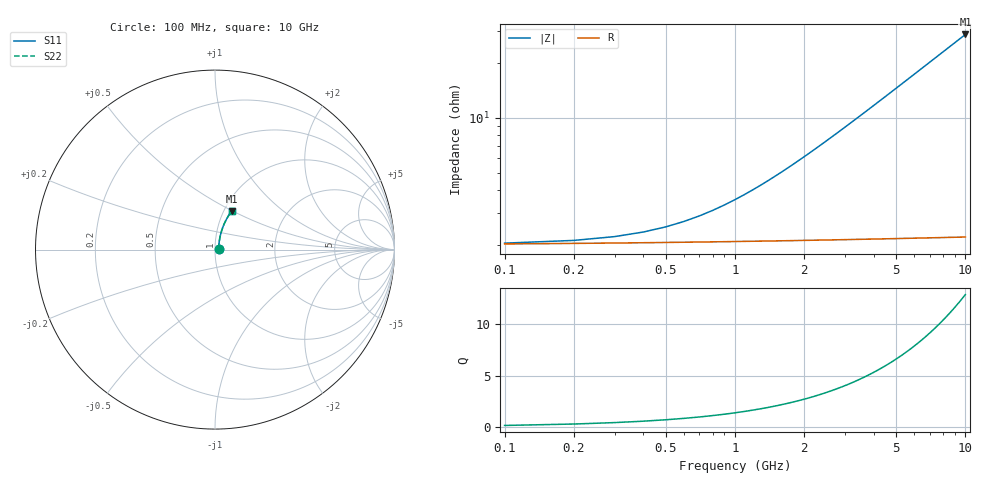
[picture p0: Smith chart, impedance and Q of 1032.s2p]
# Hz S RI R 50.00
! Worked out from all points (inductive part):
!   100 points, 100 MHz to 10 GHz, reference 50 ohm
!   read as one part in series: L = 457 pH near 2.3 GHz
!   highest Q = 12.9 at 10 GHz (marker M1), where L = 455 pH
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1e8  0.0199 0.00234  0.9801 -0.00318  0.9801 -0.00318  0.0199 0.00234
2e8  0.0201 0.00468  0.9799 -0.00635  0.9799 -0.00635  0.0201 0.00468
3e8  0.0202 0.00702  0.9798 -0.00952  0.9798 -0.00952  0.0202 0.00702
4e8  0.0203 0.00936  0.9797 -0.0127  0.9797 -0.0127  0.0203 0.00936
6e8  0.0206 0.014  0.9794 -0.019  0.9794 -0.019  0.0206 0.014
1e9  0.0213 0.0234  0.9787 -0.0317  0.9787 -0.0317  0.0213 0.0234
1.3e9  0.0219 0.0304  0.978 -0.0412  0.978 -0.0412  0.0219 0.0304
1.5e9  0.0224 0.035  0.9775 -0.0475  0.9775 -0.0475  0.0224 0.035
1.8e9  0.0232 0.042  0.9767 -0.057  0.9767 -0.057  0.0232 0.042
2.1e9  0.0242 0.0489  0.9757 -0.0664  0.9757 -0.0664  0.0242 0.0489
2.5e9  0.0256 0.0581  0.9741 -0.079  0.9741 -0.079  0.0256 0.0581
2.9e9  0.0273 0.0673  0.9723 -0.0915  0.9723 -0.0915  0.0273 0.0673
3.4e9  0.0298 0.0786  0.9698 -0.107  0.9698 -0.107  0.0298 0.0786
3.8e9  0.032 0.0877  0.9675 -0.1194  0.9675 -0.1194  0.032 0.0877
4.2e9  0.0344 0.0966  0.9649 -0.1316  0.9649 -0.1316  0.0344 0.0966
4.6e9  0.0371 0.1055  0.9621 -0.1438  0.9621 -0.1438  0.0371 0.1055
5.1e9  0.0407 0.1164  0.9583 -0.159  0.9583 -0.159  0.0407 0.1164
5.9e9  0.0472 0.1336  0.9515 -0.1829  0.9515 -0.1829  0.0472 0.1336
6.7e9  0.0545 0.1504  0.9438 -0.2064  0.9438 -0.2064  0.0545 0.1504
7.5e9  0.0627 0.1667  0.9353 -0.2294  0.9353 -0.2294  0.0627 0.1667
8.4e9  0.0727 0.1844  0.9247 -0.2546  0.9247 -0.2546  0.0727 0.1844
1e10  0.0927 0.214  0.9037 -0.2978  0.9037 -0.2978  0.0927 0.214
